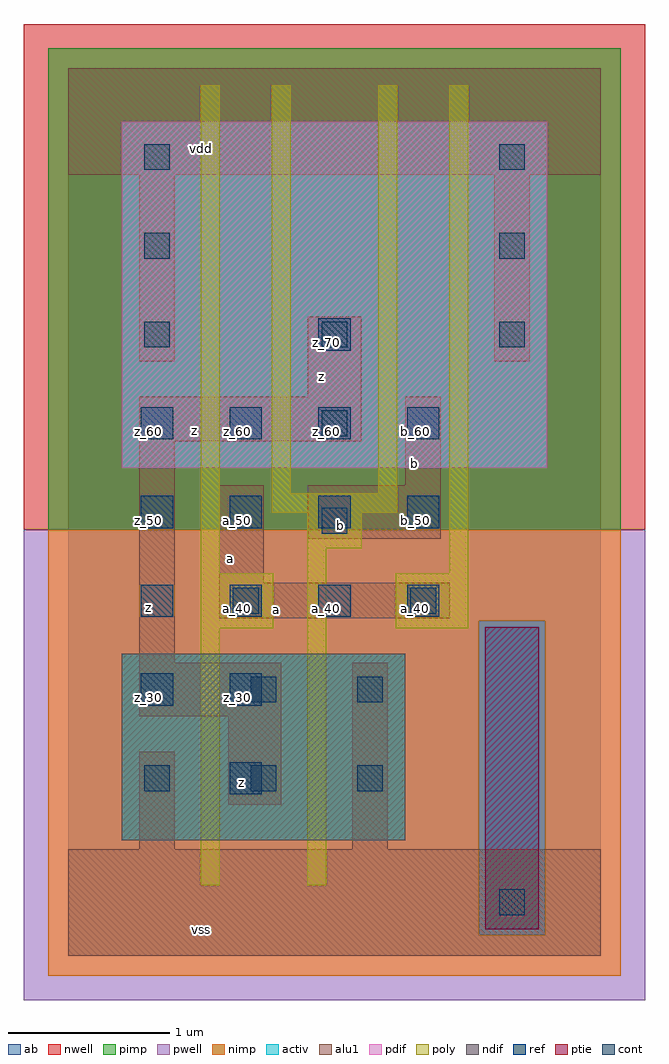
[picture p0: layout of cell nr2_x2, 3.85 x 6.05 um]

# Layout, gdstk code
import gdstk
lib = gdstk.Library(unit=1e-6, precision=2.5e-09)
def R(c, l, rs):  # rectangles x0, y0, x1, y1
    for r in rs: c.add(gdstk.rectangle(r[:2], r[2:], *l))
def A(c, l, x, y, w, h, nx, ny, dx, dy):  # array of equal rectangles
    R(c, l, [(x+i*dx, y+j*dy, x+i*dx+w, y+j*dy+h) for i in range(nx) for j in range(ny)])
ndif = (3, 0)
pdif = (4, 0)
ptie = (6, 0)
ref = (24, 0)
cont = (25, 0)
pwell = (41, 0)
nwell = (42, 0)
activ = (43, 0)
pimp = (44, 0)
nimp = (45, 0)
poly = (46, 0)
alu1 = (49, 0)
ab = (63, 0)

nr2_x2 = lib.new_cell('nr2_x2')
R(nr2_x2, ndif, [(0.33,0.715,2.09,1.87)])
R(nr2_x2, pdif, [(0.33,3.025,2.97,5.17)])
R(nr2_x2, ptie, [(2.585,0.165,2.915,2.035)])
A(nr2_x2, ref, 0.45, 2.1, 0.2, 0.2, 4, 3, 0.55, 0.55)
R(nr2_x2, ref, [(1,1,1.2,1.2), (0.45,1.55,0.65,1.75), (1,1.55,1.2,1.75), (1.55,3.75,1.75,3.95)])
A(nr2_x2, cont, 0.47, 1.02, 0.16, 0.16, 3, 1, 0.66, 0)
A(nr2_x2, cont, 0.47, 3.77, 0.16, 0.16, 3, 1, 1.1, 0)
R(nr2_x2, cont, [(2.67,0.25,2.83,0.41), (1.13,1.57,1.29,1.73), (1.79,1.57,1.95,1.73), (1.02,2.12,1.18,2.28), (2.12,2.12,2.28,2.28), (1.57,2.615,1.73,2.775), (1.57,3.22,1.73,3.38), (0.47,4.32,0.63,4.48), (2.67,4.32,2.83,4.48), (0.47,4.87,0.63,5.03), (2.67,4.87,2.83,5.03)])
R(nr2_x2, pwell, [(-0.275,-0.275,3.575,2.64)])
R(nr2_x2, nwell, [(-0.275,2.64,3.575,5.775)])
R(nr2_x2, activ, [(2.585,0.165,2.915,2.035), (0.33,0.715,2.09,1.87), (0.33,3.025,2.97,5.17)])
R(nr2_x2, pimp, [(2.545,0.125,2.955,2.075), (-0.125,2.64,3.425,5.625)])
R(nr2_x2, nimp, [(-0.125,-0.125,3.425,0.125), (-0.125,0.125,2.545,2.075), (2.955,0.125,3.425,2.075), (-0.125,2.075,3.425,2.64)])
R(nr2_x2, poly, [(0.82,0.435,0.94,2.03), (1.48,0.435,1.6,2.525), (0.82,2.03,1.27,2.37), (2.03,2.03,2.48,2.37), (0.82,2.37,0.94,5.395), (2.36,2.37,2.48,5.395), (1.48,2.525,1.82,2.745), (1.26,2.745,2.04,2.865), (1.26,2.865,1.38,5.395), (1.92,2.865,2.04,5.395)])
R(nr2_x2, alu1, [(0,0,3.3,0.66), (0.44,0.66,0.66,1.265), (1.76,0.66,1.98,1.815), (0.99,0.935,1.32,1.485), (0.44,1.485,1.32,1.815), (0.44,1.815,0.66,3.19), (0.935,2.09,2.365,2.31), (0.935,2.31,1.21,2.915), (1.485,2.585,2.31,2.915), (2.09,2.915,2.31,3.465), (0.44,3.19,1.815,3.465), (1.485,3.465,1.815,3.96), (0.44,3.685,0.66,4.84), (2.64,3.685,2.86,4.84), (0,4.84,3.3,5.5)])
R(nr2_x2, ab, [(0,0,3.3,5.5)])
nr2_x2.add(gdstk.Label('vss', (0.825,0.165), layer=49, texttype=0))
nr2_x2.add(gdstk.Label('z', (1.0725,1.0725), layer=49, texttype=0))
nr2_x2.add(gdstk.Label('a', (1.2925,2.145), layer=49, texttype=0))
nr2_x2.add(gdstk.Label('b', (1.69,2.6675), layer=49, texttype=0))
nr2_x2.add(gdstk.Label('a', (1.0025,2.46), layer=49, texttype=0))
nr2_x2.add(gdstk.Label('b', (2.145,3.0525), layer=49, texttype=0))
nr2_x2.add(gdstk.Label('z', (0.495,2.1575), layer=49, texttype=0))
nr2_x2.add(gdstk.Label('z', (0.7825,3.2575), layer=49, texttype=0))
nr2_x2.add(gdstk.Label('z', (1.5675,3.5875), layer=49, texttype=0))
nr2_x2.add(gdstk.Label('vdd', (0.825,5.005), layer=49, texttype=0))
nr2_x2.add(gdstk.Label('z_60', (1.6,3.25), layer=24, texttype=0))
nr2_x2.add(gdstk.Label('z_60', (1.05,3.25), layer=24, texttype=0))
nr2_x2.add(gdstk.Label('z_70', (1.6,3.8), layer=24, texttype=0))
nr2_x2.add(gdstk.Label('z_30', (0.5,1.6), layer=24, texttype=0))
nr2_x2.add(gdstk.Label('z_50', (0.5,2.7), layer=24, texttype=0))
nr2_x2.add(gdstk.Label('z_40', (0.5,2.15), layer=24, texttype=0))
nr2_x2.add(gdstk.Label('z_30', (1.05,1.6), layer=24, texttype=0))
nr2_x2.add(gdstk.Label('z_20', (1.05,1.05), layer=24, texttype=0))
nr2_x2.add(gdstk.Label('z_60', (0.5,3.25), layer=24, texttype=0))
nr2_x2.add(gdstk.Label('b_60', (2.15,3.25), layer=24, texttype=0))
nr2_x2.add(gdstk.Label('b_50', (2.15,2.7), layer=24, texttype=0))
nr2_x2.add(gdstk.Label('b_50', (1.6,2.7), layer=24, texttype=0))
nr2_x2.add(gdstk.Label('a_50', (1.05,2.7), layer=24, texttype=0))
nr2_x2.add(gdstk.Label('a_40', (1.05,2.15), layer=24, texttype=0))
nr2_x2.add(gdstk.Label('a_40', (1.6,2.15), layer=24, texttype=0))
nr2_x2.add(gdstk.Label('a_40', (2.15,2.15), layer=24, texttype=0))

lib.write_gds('nr2_x2.gds')
